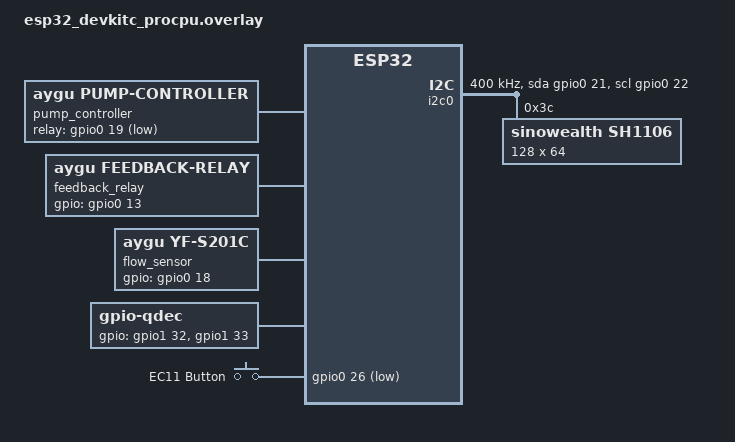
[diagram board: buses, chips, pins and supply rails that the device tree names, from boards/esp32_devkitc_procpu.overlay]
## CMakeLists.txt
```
# Copyright (c) 2025 Ramon Cristopher Calam
# SPDX-License-Identifier: Apache-2.0

cmake_minimum_required(VERSION 3.20.0)
find_package(Zephyr REQUIRED HINTS $ENV{ZEPHYR_BASE})

project(app LANGUAGES C)

# Include directories for UI modules
target_include_directories(app PRIVATE
  include
  include/display
  include/input
  include/timer
  include/zbus
)

target_sources(app PRIVATE
  src/main.c
  src/flow_analyzer.c
  src/flow_analyzer_thread.c
  src/error_handler.c
  src/thread_manager.c
  src/ui_manager.c
  src/display/display_manager.c
  src/input/input_manager.c
  src/timer/timer_state_machine.c
  src/zbus/channels.c
)
```

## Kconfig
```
# Copyright (c) 2021 Nordic Semiconductor ASA
# SPDX-License-Identifier: Apache-2.0
#
# This file is the application Kconfig entry point. All application Kconfig
# options can be defined here or included via other application Kconfig files.
# You can browse these options using the west targets menuconfig (terminal) or
# guiconfig (GUI).

menu "Zephyr"
source "Kconfig.zephyr"
endmenu

module = APP
module-str = APP
source "subsys/logging/Kconfig.template.log_config"

menu "Water Pump Application Configuration"

config APP_FLOW_THRESHOLD_MILLI_L_PER_MIN
	int "Minimum flow rate threshold (milli L/min)"
	default 100
	help
	  Minimum flow rate to consider active, in milli-liters per minute.
	  Default: 0.1 L/min

config APP_PUMP_ON_DEBOUNCE_MS
	int "Pump on debounce delay (ms)"
	default 3000
	help
	  Delay in milliseconds before allowing pump to turn on.

config APP_PLATEAU_CONFIRM_COUNT
	int "Consecutive plateau confirmations needed"
	default 2
	help
	  Number of consecutive small differences to confirm plateau.

config APP_PLATEAU_WINDOW_SIZE
	int "Sliding window size for plateau detection"
	default 5
	help
	  Size of sliding window for calibration plateau detection.

config APP_PLATEAU_MIN_SLOPE_MILLI
	int "Minimum slope for linear phase (milli L/min per sample)"
	default 10
	help
	  Minimum slope to assume linear phase, in milli-units.

config APP_PLATEAU_K_FACTOR_MILLI
	int "Plateau threshold multiplier (milli)"
	default 3000
	help
	  Threshold multiplier for plateau detection (3-sigma), in milli-units.

config APP_PLATEAU_INITIAL_K_FACTOR_MILLI
	int "Initial plateau threshold multiplier (milli)"
	default 2000
	help
	  Initial threshold multiplier for plateau detection (2-sigma), in milli-units.

config APP_PUMP_SAFETY_TIMEOUT_MIN
	int "Max pump runtime (minutes)"
	default 5
	help
	  Maximum pump runtime in minutes before safety shutdown.

config APP_MAX_TIMEOUT_US
	hex "Maximum timeout cap (microseconds)"
	default 0xF4240
	help
	  Maximum timeout cap in microseconds (default: 1,000,000 = 1 second).

config APP_ERROR_INIT_RETRY_COUNT
	int "Error handler init retry count"
	default 3
	help
	  Number of retries for error handler initialization.

config APP_ERROR_INIT_RETRY_DELAY_MS
	int "Error handler init retry delay (ms)"
	default 100
	help
	  Delay between retries for error handler initialization in milliseconds.

menu "Thread Architecture Configuration"

config SENSOR_MONITOR_STACK_SIZE
	int "Sensor monitor thread stack size (bytes)"
	default 2048
	help
	  Stack size for the sensor monitor thread in bytes.

config PUMP_CONTROLLER_STACK_SIZE
	int "Pump controller thread stack size (bytes)"
	default 3072
	help
	  Stack size for the pump controller thread in bytes.

config SAFETY_MONITOR_STACK_SIZE
	int "Safety monitor thread stack size (bytes)"
	default 2048
	help
	  Stack size for the safety monitor thread in bytes.

config SENSOR_MONITOR_PRIORITY
	int "Sensor monitor thread priority"
	default 2
	range 0 15
	help
	  Priority of the sensor monitor thread (lower number = higher priority).

config PUMP_CONTROLLER_PRIORITY
	int "Pump controller thread priority"
	default 5
	range 0 15
	help
	  Priority of the pump controller thread (lower number = higher priority).

config SAFETY_MONITOR_PRIORITY
	int "Safety monitor thread priority"
	default 1
	range 0 15
	help
	  Priority of the safety monitor thread (lower number = higher priority).

config SAFETY_MONITOR_CHECK_INTERVAL_MS
	int "Safety monitor check interval (ms)"
	default 500
	range 100 5000
	help
	  Interval in milliseconds between safety monitor checks.

config SAFETY_MONITOR_MAX_RUNTIME_MINUTES
	int "Safety monitor maximum pump runtime (minutes)"
	default 30
	range 5 120
	help
	  Maximum allowed pump runtime in minutes before emergency stop.

config SAFETY_MONITOR_WARNING_THRESHOLD_MINUTES
	int "Safety monitor warning threshold (minutes)"
	default 25
	range 1 120
	help
	  Runtime threshold in minutes when warnings are issued before emergency stop.

config APP_SAFETY_MONITOR_MAX_SENSOR_TIMEOUT_MS
	int "Maximum sensor data stall timeout (ms)"
	default 5000
	help
	  Maximum time in milliseconds without sensor data while the pump is on
	  before triggering an emergency stop. This detects sensor monitor thread
	  stalls.

config UI_MANAGER_STACK_SIZE
	int "UI manager thread stack size (bytes)"
	default 8192
	help
	  Stack size for the UI manager thread in bytes.

config UI_MANAGER_PRIORITY
	int "UI manager thread priority"
	default 4
	range 0 15
	help
	  Priority of the UI manager thread (lower number = higher priority).

config FLOW_ANALYZER_STACK_SIZE
	int "Flow analyzer thread stack size (bytes)"
	default 3072
	help
	  Stack size for the flow analyzer thread in bytes.

config FLOW_ANALYZER_PRIORITY
	int "Flow analyzer thread priority"
	default 3
	range 0 15
	help
	  Priority of the flow analyzer thread (lower number = higher priority).

endmenu

endmenu
```

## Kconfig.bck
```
# Copyright (c) 2025 Ramon Cristopher Calam
# SPDX-License-Identifier: Apache-2.0

menu "Pump Control Configuration"

	config PUMP_NO_FLOW_MULTIPLIER
		string "No-flow timer multiplier (e.g. 1.2 for 1.2x plateau period)"
		default "1.2"
		help
			Multiplier for plateau period to set no-flow timeout.
			Lower values mean faster shutdown when flow stops.

	config PUMP_NO_FLOW_DEBOUNCE_COUNT
		int "No-flow debounce count"
		default 2
		range 1 10
		help
			Number of consecutive timer expirations required before triggering shutdown.
			Prevents false shutdown on flow irregularities.

endmenu
```

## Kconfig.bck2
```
# App-specific configuration options

menu "Water Pump Application Configuration"

config APP_FLOW_THRESHOLD_MILLI_L_PER_MIN
	int "Minimum flow rate threshold (milli L/min)"
	default 100
	help
	  Minimum flow rate to consider active, in milli-liters per minute.
	  Default: 0.1 L/min

config APP_PUMP_ON_DEBOUNCE_MS
	int "Pump on debounce delay (ms)"
	default 3000
	help
	  Delay in milliseconds before allowing pump to turn on.

config APP_PLATEAU_CONFIRM_COUNT
	int "Consecutive plateau confirmations needed"
	default 2
	help
	  Number of consecutive small differences to confirm plateau.

config APP_PLATEAU_WINDOW_SIZE
	int "Sliding window size for plateau detection"
	default 5
	help
	  Size of sliding window for calibration plateau detection.

config APP_PLATEAU_MIN_SLOPE_MILLI
	int "Minimum slope for linear phase (milli L/min per sample)"
	default 10
	help
	  Minimum slope to assume linear phase, in milli-units.

config APP_PLATEAU_K_FACTOR_MILLI
	int "Plateau threshold multiplier (milli)"
	default 3000
	help
	  Threshold multiplier for plateau detection (3-sigma), in milli-units.

config APP_PLATEAU_INITIAL_K_FACTOR_MILLI
	int "Initial plateau threshold multiplier (milli)"
	default 2000
	help
	  Initial threshold multiplier for plateau detection (2-sigma), in milli-units.

config APP_PUMP_SAFETY_TIMEOUT_MIN
	int "Max pump runtime (minutes)"
	default 5
	help
	  Maximum pump runtime in minutes before safety shutdown.

config APP_MAX_TIMEOUT_US
	hex "Maximum timeout cap (microseconds)"
	default 0xF4240
	help
	  Maximum timeout cap in microseconds (default: 1,000,000 = 1 second).

config APP_ERROR_INIT_RETRY_COUNT
	int "Error handler init retry count"
	default 3
	help
	  Number of retries for error handler initialization.

config APP_ERROR_INIT_RETRY_DELAY_MS
	int "Error handler init retry delay (ms)"
	default 100
	help
	  Delay between retries for error handler initialization in milliseconds.

endmenu
```

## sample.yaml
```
# This file is provided so that the application can be compiled using Twister,
# the Zephyr testing tool. In this file, multiple combinations can be specified,
# so that you can easily test all of them locally or in CI.
sample:
  description: Water Pump application
  name: water-pump
common:
  build_only: true
  integration_platforms:
    - esp32
tests:
  app.default: {}
  app.debug:
    extra_overlay_confs:
      - debug.conf
```

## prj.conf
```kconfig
# Copyright (c) 2025 Ramon Cristopher Calam
# SPDX-License-Identifier: Apache-2.0

# Thread and stack configuration for improved reliability
CONFIG_MAIN_STACK_SIZE=4096
CONFIG_SYSTEM_WORKQUEUE_STACK_SIZE=2048
CONFIG_IDLE_STACK_SIZE=1024
CONFIG_SYSTEM_WORKQUEUE_PRIORITY=-1

# Memory management
CONFIG_HEAP_MEM_POOL_SIZE=4096

# Memory protection - enable stack guards for debugging
CONFIG_MPU_STACK_GUARD=y
CONFIG_THREAD_STACK_INFO=y

# Enable polling API for event-driven processing
CONFIG_POLL=y

# Zbus for inter-thread communication
CONFIG_ZBUS=y
CONFIG_ZBUS_CHANNEL_NAME=y
CONFIG_ZBUS_MSG_SUBSCRIBER=y
CONFIG_ZBUS_MSG_SUBSCRIBER_NET_BUF_POOL_SIZE=128

# Thread configuration for multi-threaded architecture
CONFIG_SENSOR_MONITOR_STACK_SIZE=2048
CONFIG_PUMP_CONTROLLER_STACK_SIZE=3072
CONFIG_SAFETY_MONITOR_STACK_SIZE=2048


# Thread priorities (lower number = higher priority)
CONFIG_SENSOR_MONITOR_PRIORITY=3
CONFIG_PUMP_CONTROLLER_PRIORITY=2
CONFIG_SAFETY_MONITOR_PRIORITY=1


# Flow analyzer thread
CONFIG_FLOW_ANALYZER_STACK_SIZE=3072
CONFIG_FLOW_ANALYZER_PRIORITY=3

# Safety monitor configuration
CONFIG_SAFETY_MONITOR_CHECK_INTERVAL_MS=500
CONFIG_SAFETY_MONITOR_MAX_RUNTIME_MINUTES=30
CONFIG_SAFETY_MONITOR_WARNING_THRESHOLD_MINUTES=25
CONFIG_APP_SAFETY_MONITOR_MAX_SENSOR_TIMEOUT_MS=5000

# Display configuration
CONFIG_I2C=y
CONFIG_DISPLAY=y
CONFIG_SSD1306=y
CONFIG_SSD1306_DEFAULT_CONTRAST=128

# Character Framebuffer for text display
CONFIG_CHARACTER_FRAMEBUFFER=y

# Input subsystem for rotary encoder and buttons
CONFIG_INPUT=y
CONFIG_INPUT_GPIO_QDEC=y
CONFIG_INPUT_GPIO_KEYS=y

# UI Thread configuration - increased stack for CFB display operations
CONFIG_UI_MANAGER_STACK_SIZE=9216
CONFIG_UI_MANAGER_PRIORITY=4

# Enable assertions for catching errors
CONFIG_ASSERT=y
CONFIG_ASSERT_LEVEL=2

# Stack protection
CONFIG_STACK_SENTINEL=y

# Disable MPU stack guard (not supported on ESP32)
# CONFIG_MPU_STACK_GUARD is not set

# Logging
# CONFIG_LOG=y
# CONFIG_LOG_DEFAULT_LEVEL=3

# Feedback relay driver
CONFIG_FEEDBACK_RELAY=y

# Reboot support
CONFIG_REBOOT=y
```

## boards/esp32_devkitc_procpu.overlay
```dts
/*
 * ESP32 board overlay for water pump application
 */

#include <zephyr/dt-bindings/i2c/i2c.h>
#include <zephyr/dt-bindings/input/input-event-codes.h>
#include <zephyr/dt-bindings/gpio/gpio.h>

&gpio0 {
	status = "okay";
};

&gpio1 {
	status = "okay";
};

&i2c0 {
	status = "okay";
	clock-frequency = <I2C_BITRATE_FAST>;
	sda-gpios = <&gpio0 21 GPIO_OPEN_DRAIN>;
	scl-gpios = <&gpio0 22 GPIO_OPEN_DRAIN>;

	sh1106: sh1106@3c {
		compatible = "sinowealth,sh1106";
		reg = <0x3c>;
		width = <128>;
		height = <64>;
		segment-offset = <2>;
		page-offset = <0>;
		display-offset = <0>;
		multiplex-ratio = <63>;
		segment-remap;
		com-invdir;
		prechargep = <0x22>;
	};
};

/ {
  pump_controller: pump_controller {
    compatible = "aygu,pump-controller";
    relay-gpios = <&gpio0 19 GPIO_ACTIVE_LOW>;
    safety-timeout-min = <5>;
    status = "okay";
  };

  feedback_relay: feedback_relay {
    compatible = "aygu,feedback-relay";
    /* Use open-drain so "off" releases the pin (Hi-Z).
     * The relay module's internal 5V pull-up then pulls the line high,
     * which the 5V relay module reliably interprets as OFF.
     * This solves the 3.3V vs 5V logic level mismatch.
     */
    gpios = <&gpio0 13 GPIO_OPEN_DRAIN>;
    status = "okay";
  };

	flow_sensor: flow-sensor {
		compatible = "aygu,yf-s201c";
		gpios = <&gpio0 18 GPIO_PULL_UP>;
		pulses-per-liter = <450>;
		min-period-us = <2500>;
		buffer-size = <5>;
		stale-threshold-ms = <200>;
		consecutive-invalid-threshold = <5>;
		status = "okay";
	};

	qdec: qdec {
		compatible = "gpio-qdec";
		gpios = <&gpio1 32 GPIO_PULL_UP>, <&gpio1 33 GPIO_PULL_UP>;
		steps-per-period = <4>;
		zephyr,axis = <INPUT_REL_WHEEL>;
		sample-time-us = <2000>;
		idle-timeout-ms = <200>;
		status = "okay";
	};

	/* GPIO Keys for EC11 Button */
	gpio_keys: gpio_keys {
		compatible = "gpio-keys";
		
		ec11_button: ec11_button {
			label = "EC11 Button";
			gpios = <&gpio0 26 (GPIO_PULL_UP | GPIO_ACTIVE_LOW)>;
			zephyr,code = <INPUT_KEY_ENTER>;
		};
	};
};
```

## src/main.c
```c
/*
 * Copyright (c) 2025 Ramon Cristopher Calam
 * SPDX-License-Identifier: Apache-2.0
 */

#include <app/drivers/pump_controller.h>
#include <zephyr/logging/log.h>
#include <zephyr/kernel.h>
#include <app_version.h>
#include "error_handler.h"
#include "thread_manager.h"
#include "ui_manager.h"

LOG_MODULE_REGISTER(main, CONFIG_APP_LOG_LEVEL);

// Semaphore for event-driven sensor data signaling is now defined in thread_manager.c

/**
 * @brief Main application entry point for Zephyr Water Pump control system
 *
 * @return Application exit code (0 for normal operation, never returns in production)
 */
int main(void)
{
    int ret;

    LOG_INF("Zephyr Water Pump Application %s", APP_VERSION_STRING);

    // Initialize error handler first (critical for other modules)
    ret = error_handler_init();
    if (ret < 0) {
        LOG_ERR("Could not initialize error handler (%d)", ret);
        return ERROR_REPORT_CRITICAL(ERROR_SYSTEM_CRITICAL_FAILURE);
    }

    // Initialize UI manager (display and input)
    ret = ui_manager_init();
    if (ret < 0) {
        LOG_ERR("Could not initialize UI manager (%d)", ret);
        return ERROR_REPORT_CRITICAL(ERROR_SYSTEM_CRITICAL_FAILURE);
    }

    // Get pump controller device reference (driver initializes itself)
    const struct device *pump = PUMP_CONTROLLER_DT_GET(DT_NODELABEL(pump_controller));
    if (!device_is_ready(pump)) {
        LOG_ERR("Pump controller device not ready");
        return ERROR_REPORT_CRITICAL(ERROR_PUMP_GPIO_FAILED);
    }

    // Create and start all threads
    ret = thread_manager_create_all_threads();
    if (ret < 0) {
        LOG_ERR("Failed to create threads (%d)", ret);
        return ERROR_REPORT_CRITICAL(ERROR_SYSTEM_CRITICAL_FAILURE);
    }

    // Monitor system health (this function never returns)
    thread_manager_monitor_health();

    return 0;
}
```

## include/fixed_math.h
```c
/*
 * Copyright (c) 2025 Ramon Cristopher Calam
 * SPDX-License-Identifier: Apache-2.0
 */

#ifndef FIXED_MATH_H
#define FIXED_MATH_H

#include <stdint.h>
#include <stdbool.h>
#include <stddef.h>

/**
 * @brief Q16.16 fixed-point arithmetic library
 *
 * Provides efficient fixed-point mathematics for embedded systems,
 * eliminating FPU dependency and reducing memory usage by ~75%
 * compared to floating-point operations.
 *
 * Format: 32-bit signed integer with 16 bits fractional precision
 * Range: -32768.0 to +32767.999... (approximate)
 * Resolution: 1/65536 ≈ 0.00001526
 */

// ============================================================================
// Type Definitions and Constants
// ============================================================================

/** Q16.16 fixed-point type */
typedef int32_t fixed_t;

/** Scale factor for Q16.16 format */
#define FIXED_SCALE (1 << 16)

/** Scale factor as floating-point for conversions */
#define FIXED_SCALE_F (65536.0f)

/** Maximum positive value in Q16.16 */
#define FIXED_MAX INT32_MAX

/** Minimum negative value in Q16.16 */
#define FIXED_MIN INT32_MIN

/** Value of 1.0 in fixed-point */
#define FIXED_ONE (FIXED_SCALE)

/** Value of 0.5 in fixed-point (for rounding) */
#define FIXED_HALF (FIXED_SCALE / 2)

// ============================================================================
// Conversion Functions
// ============================================================================

/**
 * @brief Convert floating-point to Q16.16 fixed-point
 *
 * @param f Floating-point value
 * @return Equivalent fixed-point value
 */
static inline fixed_t fixed_from_float(float f) {
    return (fixed_t)(f * FIXED_SCALE_F + (f >= 0.0f ? 0.5f : -0.5f));
}

/**
 * @brief Convert Q16.16 fixed-point to floating-point
 *
 * @param x Fixed-point value
 * @return Equivalent floating-point value
 */
static inline float fixed_to_float(fixed_t x) {
    return (float)x / FIXED_SCALE_F;
}

/**
 * @brief Convert integer to Q16.16 fixed-point
 *
 * @param i Integer value
 * @return Equivalent fixed-point value
 */
static inline fixed_t fixed_from_int(int32_t i) {
    return i << 16;
}

/**
 * @brief Convert Q16.16 fixed-point to integer (truncation)
 *
 * @param x Fixed-point value
 * @return Equivalent integer value (truncated)
 */
static inline int32_t fixed_to_int(fixed_t x) {
    return x >> 16;
}

/**
 * @brief Convert Q16.16 fixed-point to integer (rounding)
 *
 * @param x Fixed-point value
 * @return Equivalent integer value (rounded)
 */
static inline int32_t fixed_to_int_round(fixed_t x) {
    if (x >= 0) {
        return (x + FIXED_HALF) >> 16;
    } else {
        return (x - FIXED_HALF) >> 16;
    }
}

// ============================================================================
// Arithmetic Operations
// ============================================================================

/**
 * @brief Add two Q16.16 fixed-point values
 *
 * @param a First value
 * @param b Second value
 * @return a + b in fixed-point
 */
static inline fixed_t fixed_add(fixed_t a, fixed_t b) {
    return a + b;
}

/**
 * @brief Subtract two Q16.16 fixed-point values
 *
 * @param a First value
 * @param b Second value
 * @return a - b in fixed-point
 */
static inline fixed_t fixed_sub(fixed_t a, fixed_t b) {
    return a - b;
}

/**
 * @brief Multiply two Q16.16 fixed-point values
 *
 * Uses 64-bit intermediate to prevent overflow.
 *
 * @param a First value
 * @param b Second value
 * @return a * b in fixed-point
 */
static inline fixed_t fixed_mul(fixed_t a, fixed_t b) {
    int64_t temp = (int64_t)a * (int64_t)b;
    return (fixed_t)(temp >> 16);
}

/**
 * @brief Divide two Q16.16 fixed-point values
 *
 * @param a Dividend
 * @param b Divisor (must not be zero)
 * @return a / b in fixed-point
 */
static inline fixed_t fixed_div(fixed_t a, fixed_t b) {
    if (b == 0) return FIXED_MAX; // Prevent division by zero
    int64_t temp = ((int64_t)a << 16) / b;
    return (fixed_t)temp;
}

/**
 * @brief Multiply fixed-point by integer
 *
 * @param a Fixed-point value
 * @param b Integer multiplier
 * @return a * b in fixed-point
 */
static inline fixed_t fixed_mul_int(fixed_t a, int32_t b) {
    return a * b;
}

/**
 * @brief Divide fixed-point by integer
 *
 * @param a Fixed-point dividend
 * @param b Integer divisor (must not be zero)
 * @return a / b in fixed-point
 */
static inline fixed_t fixed_div_int(fixed_t a, int32_t b) {
    if (b == 0) return FIXED_MAX; // Prevent division by zero
    return a / b;
}

// ============================================================================
// Comparison Operations
// ============================================================================

/**
 * @brief Compare two fixed-point values for equality
 *
 * @param a First value
 * @param b Second value
 * @return true if a == b
 */
static inline bool fixed_eq(fixed_t a, fixed_t b) {
    return a == b;
}

/**
 * @brief Compare two fixed-point values
 *
 * @param a First value
 * @param b Second value
 * @return -1 if a < b, 0 if a == b, 1 if a > b
 */
static inline int fixed_cmp(fixed_t a, fixed_t b) {
    if (a < b) return -1;
    if (a > b) return 1;
    return 0;
}

/**
 * @brief Check if a is less than b
 *
 * @param a First value
 * @param b Second value
 * @return true if a < b
 */
static inline bool fixed_lt(fixed_t a, fixed_t b) {
    return a < b;
}

/**
 * @brief Check if a is less than or equal to b
 *
 * @param a First value
 * @param b Second value
 * @return true if a <= b
 */
static inline bool fixed_le(fixed_t a, fixed_t b) {
    return a <= b;
}

/**
 * @brief Check if a is greater than b
 *
 * @param a First value
 * @param b Second value
 * @return true if a > b
 */
static inline bool fixed_gt(fixed_t a, fixed_t b) {
    return a > b;
}

/**
 * @brief Check if a is greater than or equal to b
 *
 * @param a First value
 * @param b Second value
 * @return true if a >= b
 */
static inline bool fixed_ge(fixed_t a, fixed_t b) {
    return a >= b;
}

// ============================================================================
// Mathematical Functions
// ============================================================================

/**
 * @brief Calculate absolute value of fixed-point number
 *
 * @param x Input value
 * @return |x| in fixed-point
 */
static inline fixed_t fixed_abs(fixed_t x) {
    return (x < 0) ? -x : x;
}

/**
 * @brief Calculate square root using integer approximation
 *
 * Implements a fast integer square root algorithm adapted for fixed-point.
 * Accuracy is sufficient for flow measurement applications.
 *
 * @param x Input value (must be non-negative)
 * @return √x in fixed-point
 */
static inline fixed_t fixed_sqrt(fixed_t x) {
    if (x <= 0) return 0;

    // Convert to integer domain for calculation
    uint32_t x_int = (uint32_t)x << 8; // Scale up for better precision
    uint32_t result = 0;
    uint32_t bit = 1 << 30; // Start with highest bit

    // Integer square root algorithm - find initial bit position
    while (bit > x_int && bit > 1) {
        bit >>= 2;
    }

    // Main square root calculation with safety limit
    int iterations = 0;
    while (bit != 0 && iterations < 16) {  // Safety limit to prevent infinite loops
        if (x_int >= result + bit) {
            x_int -= result + bit;
            result = (result >> 1) + bit;
        } else {
            result >>= 1;
        }
        bit >>= 2;
        iterations++;
    }

    // Convert back to fixed-point and adjust scaling
    return (fixed_t)(result) << 4; // Adjust for the scaling we applied
}

/**
 * @brief Calculate mean of an array of fixed-point values
 *
 * @param arr Array of fixed-point values
 * @param count Number of elements
 * @return Mean value in fixed-point
 */
static inline fixed_t fixed_mean(const fixed_t *arr, size_t count) {
    if (count == 0) return 0;

    int64_t sum = 0;
    for (size_t i = 0; i < count; i++) {
        sum += arr[i];
    }
    return (fixed_t)(sum / count);
}

/**
 * @brief Calculate variance of an array of fixed-point values
 *
 * @param arr Array of fixed-point values
 * @param count Number of elements
 * @param mean Pre-calculated mean value
 * @return Variance in fixed-point
 */
static inline fixed_t fixed_variance(const fixed_t *arr, size_t count, fixed_t mean) {
    if (count <= 1) return 0;

    int64_t sum_sq_diff = 0;
    for (size_t i = 0; i < count; i++) {
        fixed_t diff = fixed_sub(arr[i], mean);
        sum_sq_diff += (int64_t)fixed_mul(diff, diff);
    }
    return (fixed_t)(sum_sq_diff / (count - 1));
}

/**
 * @brief Calculate standard deviation of an array of fixed-point values
 *
 * @param arr Array of fixed-point values
 * @param count Number of elements
 * @param mean Pre-calculated mean value
 * @return Standard deviation in fixed-point
 */
static inline fixed_t fixed_stddev(const fixed_t *arr, size_t count, fixed_t mean) {
    fixed_t variance = fixed_variance(arr, count, mean);
    return fixed_sqrt(fixed_abs(variance)); // sqrt of variance
}

// ============================================================================
// Flow Meter Specific Constants
// ============================================================================

/** Flow rate threshold in fixed-point (0.1 L/min) */
#define FIXED_FLOW_THRESHOLD fixed_from_float(0.1f)

/** Plateau minimum slope in fixed-point (0.01 L/min per sample) */
#define FIXED_PLATEAU_MIN_SLOPE fixed_from_float(0.01f)

/** Plateau initial K-factor multiplier in fixed-point (2.0) */
#define FIXED_PLATEAU_INITIAL_K_FACTOR fixed_from_float(2.0f)

/** Plateau K-factor multiplier in fixed-point (3.0) */
#define FIXED_PLATEAU_K_FACTOR fixed_from_float(3.0f)

/** Epsilon fallback for calibration in fixed-point (0.01) */
#define FIXED_EPSILON_FALLBACK fixed_from_float(0.01f)

/** YF-S201C pulses per liter constant */
#define YF_S201C_PULSES_PER_LITER_INT 450

/** Seconds per minute for flow calculation */
#define SECONDS_PER_MINUTE_INT 60

/** Microseconds per second for flow calculation */
#define USEC_PER_SECOND_INT 1000000

#endif /* FIXED_MATH_H */
```

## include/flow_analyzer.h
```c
/*
 * Copyright (c) 2025 Ramon Cristopher Calam
 * SPDX-License-Identifier: Apache-2.0
 */

#ifndef FLOW_ANALYZER_H
#define FLOW_ANALYZER_H

#include <stdbool.h>
#include "fixed_math.h"

/*
 * All functions below must only be called from the flow analyzer thread.
 * No mutex protection — single-threaded access is the safety guarantee.
 */

int flow_analyzer_init(void);
bool flow_analyzer_detect_plateau(fixed_t flow_rate, fixed_t k_factor);
void flow_analyzer_reset(void);
fixed_t flow_analyzer_get_noise_std(void);
fixed_t flow_analyzer_get_flow_slope(void);

#define FLOW_ANALYZER_EPSILON_FALLBACK FIXED_EPSILON_FALLBACK

#endif /* FLOW_ANALYZER_H */
```

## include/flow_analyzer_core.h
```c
/*
 * Copyright (c) 2025 Ramon Cristopher Calam
 * SPDX-License-Identifier: Apache-2.0
 *
 * Pure, platform-independent core of the flow plateau detection algorithm.
 *
 * This module contains the actual statistical logic for detecting when
 * flow has stabilized. It has zero dependencies on Zephyr or any OS.
 *
 * It is intended to be used by:
 *   - The real firmware (via a thin Zephyr wrapper in flow_analyzer.c)
 *   - Host simulation (host_sim) directly for high-fidelity replay of plant traces
 */

#ifndef FLOW_ANALYZER_CORE_H
#define FLOW_ANALYZER_CORE_H

#include <stdbool.h>
#include <stdint.h>

#include "fixed_math.h"

/* Maximum supported window size (must be large enough for our Kconfig defaults) */
#define FLOW_ANALYZER_CORE_MAX_WINDOW 10

/**
 * @brief Opaque state for one instance of the flow analyzer.
 *
 * This replaces the previous global variables + mutex.
 * Each caller (real firmware instance or a host simulation) owns one.
 */
struct flow_analyzer_core_state {
    fixed_t buffer[FLOW_ANALYZER_CORE_MAX_WINDOW];
    fixed_t slope;
    fixed_t noise_std;
    fixed_t prev_flow;
    int     buffer_index;
    int     diff_count;
    int     window_size;            /* runtime configured */
    int     confirm_count;          /* runtime configured */
    bool    has_calibrated;         /* true after at least one real noise estimation */
};

/**
 * @brief Initialize the core analyzer state.
 *
 * Must be called before any other core functions.
 */
void flow_analyzer_core_init(struct flow_analyzer_core_state *state,
                             int window_size,
                             int confirm_count);

/**
 * @brief Core plateau detection logic.
 *
 * This is the pure version of the original flow_analyzer_detect_plateau.
 * It performs the sliding window, noise calibration, delta/epsilon check,
 * and consecutive confirmation counting.
 *
 * @param state     Analyzer instance state
 * @param flow_rate Current flow rate measurement
 * @param k_factor  Multiplier for noise threshold (e.g. 3.0 for 3-sigma)
 * @return true if a plateau has been confirmed, false otherwise
 */
bool flow_analyzer_core_detect_plateau(struct flow_analyzer_core_state *state,
                                       fixed_t flow_rate,
                                       fixed_t k_factor);

/**
 * @brief Perform calibration (slope + noise estimation).
 *
 * Exposed for advanced use / testing. Normally called internally.
 */
void flow_analyzer_core_calibrate(struct flow_analyzer_core_state *state);

/* Accessors for diagnostics / host simulation visibility */
fixed_t flow_analyzer_core_get_noise_std(const struct flow_analyzer_core_state *state);
fixed_t flow_analyzer_core_get_slope(const struct flow_analyzer_core_state *state);
bool    flow_analyzer_core_is_calibrated(const struct flow_analyzer_core_state *state);

/* Temporary debug accessor for understanding plateau decisions in simulation */
int flow_analyzer_core_get_diff_count(const struct flow_analyzer_core_state *state);

#endif /* FLOW_ANALYZER_CORE_H */
```

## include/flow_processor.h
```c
/*
 * Copyright (c) 2025 Ramon Cristopher Calam
 * SPDX-License-Identifier: Apache-2.0
 *
 * Flow Processor - Signal processing for flow sensor data.
 * Extracted from the YF-S201C driver during zbus architecture refactor.
 */

#ifndef FLOW_PROCESSOR_H_
#define FLOW_PROCESSOR_H_

#include <stdint.h>
#include <stddef.h>

#include "fixed_math.h"

/**
 * @brief Context for flow period filtering (median + outlier rejection).
 */
struct flow_processor_ctx {
	int64_t period_buffer[8];
	int buffer_size;
	int buffer_index;
	int valid_count;
};

/**
 * @brief Initialize a flow processor context.
 */
static inline void flow_processor_init(struct flow_processor_ctx *ctx, int buffer_size)
{
	if (!ctx) return;
	ctx->buffer_size = (buffer_size > 8) ? 8 : buffer_size;
	ctx->buffer_index = 0;
	ctx->valid_count = 0;
}

/**
 * @brief Calculate median of an array (helper, exposed for tests).
 */
int64_t flow_processor_median(int64_t *arr, int size);

/**
 * @brief Apply median filtering + outlier rejection to a new period.
 */
int64_t flow_processor_filter_period(struct flow_processor_ctx *ctx, int64_t new_period_us);

/**
 * @brief Reset the processor state.
 */
void flow_processor_reset(struct flow_processor_ctx *ctx);

/**
 * @brief Calculate flow rate (L/min) from a raw period.
 */
fixed_t flow_processor_calculate_flow_rate(int64_t period_us, uint32_t pulses_per_liter);

#endif /* FLOW_PROCESSOR_H_ */
```

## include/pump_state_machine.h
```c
/*
 * Copyright (c) 2025 Ramon Cristopher Calam
 * SPDX-License-Identifier: Apache-2.0
 *
 * Pure, hardware-independent pump state machine.
 *
 * Extracted from the pump_controller driver for testability and reuse
 * by higher-level services (PumpService, SafetyService, tests, emulation).
 *
 * This module contains **zero** kernel objects, mutexes, or device references.
 * It is fully unit-testable on the host / native_sim.
 */

#ifndef APP_PUMP_STATE_MACHINE_H_
#define APP_PUMP_STATE_MACHINE_H_

#include <stdint.h>
#include <stdbool.h>

#ifdef __cplusplus
extern "C" {
#endif

/**
 * @brief Pump operational states (pure state machine version)
 */
enum pump_sm_state {
	PUMP_SM_STATE_OFF = 0,
	PUMP_SM_STATE_STARTING,
	PUMP_SM_STATE_RUNNING,
	PUMP_SM_STATE_TIMEOUT,
	PUMP_SM_STATE_ERROR,
	PUMP_SM_STATE_MAINTENANCE,
	PUMP_SM_STATE_COUNT
};

/**
 * @brief Events that can drive state transitions
 */
enum pump_sm_event {
	PUMP_SM_EVENT_PLATEAU_DETECTED = 0,
	PUMP_SM_EVENT_TIMEOUT,
	PUMP_SM_EVENT_SAFETY_TIMEOUT,
	PUMP_SM_EVENT_ERROR_DETECTED,
	PUMP_SM_EVENT_MAINTENANCE_ENTER,
	PUMP_SM_EVENT_MAINTENANCE_EXIT,
	PUMP_SM_EVENT_RESET,
	PUMP_SM_EVENT_COUNT
};

/**
 * @brief Process a state + event and return the next state.
 *
 * This is a pure function with no side effects. Perfect for unit testing.
 *
 * @param current Current state
 * @param event   Event that occurred
 * @return        Next state according to the transition table
 */
enum pump_sm_state pump_sm_process_event(enum pump_sm_state current,
					 enum pump_sm_event event);

/**
 * @brief Convert state to human-readable string (for logging/tests)
 */
const char *pump_sm_state_to_str(enum pump_sm_state state);

/**
 * @brief Convert event to human-readable string (for logging/tests)
 */
const char *pump_sm_event_to_str(enum pump_sm_event event);

/**
 * @brief Check if a state represents the pump being physically active
 */
static inline bool pump_sm_is_active(enum pump_sm_state state)
{
	return (state == PUMP_SM_STATE_RUNNING) ||
	       (state == PUMP_SM_STATE_STARTING);
}

#ifdef __cplusplus
}
#endif

#endif /* APP_PUMP_STATE_MACHINE_H_ */
```

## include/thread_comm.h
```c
/*
 * Copyright (c) 2025 Ramon Cristopher Calam
 * SPDX-License-Identifier: Apache-2.0
 */

#ifndef THREAD_COMM_H_
#define THREAD_COMM_H_

#include <zephyr/kernel.h>
#include <stdint.h>
#include <stdbool.h>

enum thread_health_status {
	THREAD_HEALTH_OK,
	THREAD_HEALTH_TIMEOUT,
	THREAD_HEALTH_ERROR,
	THREAD_HEALTH_STACK_CRITICAL
};

struct thread_health_info {
	k_tid_t thread_id;
	int64_t last_check_time;
	enum thread_health_status status;
	size_t stack_size;
	size_t stack_peak_usage;
	uint32_t messages_processed;
	uint32_t errors_encountered;
};

#define THREAD_HEALTH_CHECK_INTERVAL_MS 1000
#define THREAD_HEALTH_TIMEOUT_MS 5000

void thread_health_update(k_tid_t thread_id, enum thread_health_status status,
			  uint32_t messages_processed, uint32_t errors_encountered);

#endif /* THREAD_COMM_H_ */
```

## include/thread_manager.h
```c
/*
 * Copyright (c) 2025 Ramon Cristopher Calam
 * SPDX-License-Identifier: Apache-2.0
 */

#ifndef THREAD_MANAGER_H_
#define THREAD_MANAGER_H_

#include <stdint.h>

/**
 * @brief Create and start all application threads
 *
 * @return 0 on success, negative errno on failure
 */
int thread_manager_create_all_threads(void);

/**
 * @brief Monitor thread health and handle system coordination
 *
 * This function runs in the main thread and monitors the health of all
 * application threads. It should be called from main() after thread creation.
 */
void thread_manager_monitor_health(void);

/**
 * @brief Request a system shutdown
 *
 * @return 0 on success, -EALREADY if already requested
 */
int thread_manager_request_shutdown(void);

/**
 * @brief Check if shutdown has been requested
 *
 * @return true if shutdown requested, false otherwise
 */
bool thread_manager_is_shutdown_requested(void);

/**
 * @brief Gracefully shutdown all threads
 *
 * @return 0 on success, negative errno on failure
 */
int thread_manager_shutdown_all_threads(void);

#endif /* THREAD_MANAGER_H_ */
```

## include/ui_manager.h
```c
/**
 * @file ui_manager.h
 * @brief UI Manager interface
 *
 * Main UI thread that coordinates display, input, and timer state machine.
 */

#ifndef UI_MANAGER_H_
#define UI_MANAGER_H_

#include <stdint.h>

#ifdef __cplusplus
extern "C" {
#endif

/**
 * @brief Initialize the UI manager
 *
 * Initializes display, input, and timer subsystems.
 * Must be called before creating the UI thread.
 *
 * @return 0 on success, negative errno on failure
 */
int ui_manager_init(void);

/**
 * @brief UI thread entry point
 *
 * This function runs the main UI event loop. It should be called
 * from a dedicated thread.
 *
 * @param arg1 Unused
 * @param arg2 Unused
 * @param arg3 Unused
 */
void ui_manager_thread(void *arg1, void *arg2, void *arg3);

#ifdef __cplusplus
}
#endif

#endif /* UI_MANAGER_H_ */
```

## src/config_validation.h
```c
/*
 * Copyright (c) 2025 Ramon Cristopher Calam
 * SPDX-License-Identifier: Apache-2.0
 */

#ifndef CONFIG_VALIDATION_H
#define CONFIG_VALIDATION_H

#include <stdint.h>
#include <stdbool.h>
#include <zephyr/kernel.h>

#ifdef __cplusplus
extern "C" {
#endif

/* ============================================================================
 * Configuration Types and Constants
 * ============================================================================ */

/**
 * @brief Configuration parameter data types
 */
typedef enum {
    CONFIG_TYPE_UINT32 = 0,   /**< 32-bit unsigned integer */
    CONFIG_TYPE_INT32,        /**< 32-bit signed integer */
    CONFIG_TYPE_UINT64,       /**< 64-bit unsigned integer */
    CONFIG_TYPE_INT64,        /**< 64-bit signed integer */
    CONFIG_TYPE_FLOAT,        /**< Single precision float */
    CONFIG_TYPE_DOUBLE,       /**< Double precision float */
    CONFIG_TYPE_BOOL,         /**< Boolean value */
    CONFIG_TYPE_STRING,       /**< Null-terminated string */
    CONFIG_TYPE_COUNT         /**< Total number of types */
} config_value_type_t;

/* ============================================================================
 * Configuration Value Union
 * ============================================================================ */

/**
 * @brief Union to hold different types of configuration values
 */
typedef union {
    uint32_t u32;             /**< Unsigned 32-bit integer */
    int32_t i32;              /**< Signed 32-bit integer */
    uint64_t u64;             /**< Unsigned 64-bit integer */
    int64_t i64;              /**< Signed 64-bit integer */
    float f32;                /**< Single precision float */
    double f64;               /**< Double precision float */
    bool b;                   /**< Boolean value */
    const char *str;          /**< String pointer */
} config_value_t;

/* ============================================================================
 * Configuration Parameter Definition
 * ============================================================================ */

/**
 * @brief Configuration parameter descriptor
 */
typedef struct {
    const char *name;                  /**< Parameter name/identifier */
    config_value_type_t type;          /**< Data type of the parameter */
    config_value_t default_value;      /**< Default value */
    config_value_t min_value;          /**< Minimum allowed value */
    config_value_t max_value;          /**< Maximum allowed value */
    bool has_min;                      /**< Whether minimum value is enforced */
    bool has_max;                      /**< Whether maximum value is enforced */
    const char *description;           /**< Human-readable description */
    const char *units;                 /**< Units of measurement */
} config_parameter_t;

/* ============================================================================
 * Configuration Validation Result
 * ============================================================================ */

/**
 * @brief Result of configuration validation
 */
typedef enum {
    CONFIG_VALIDATION_SUCCESS = 0,    /**< Configuration is valid */
    CONFIG_VALIDATION_OUT_OF_BOUNDS,  /**< Value exceeds allowed range */
    CONFIG_VALIDATION_TYPE_MISMATCH,  /**< Wrong data type for parameter */
    CONFIG_VALIDATION_DEPENDENCY_FAIL,/**< Parameter dependencies not satisfied */
    CONFIG_VALIDATION_CORRUPTION,     /**< Configuration appears corrupted */
    CONFIG_VALIDATION_MISSING_VALUE,  /**< Required parameter is missing */
    CONFIG_VALIDATION_SYSTEM_ERROR    /**< Validation system error */
} config_validation_result_t;

/* ============================================================================
 * Configuration Violation Structure
 * ============================================================================ */

/**
 * @brief Details about a configuration violation
 */
typedef struct {
    config_validation_result_t result; /**< Validation result code */
    const char *parameter_name;         /**< Name of the problematic parameter */
    config_value_t provided_value;      /**< Value that was provided */
    config_value_t expected_range;      /**< Expected value/range information */
    const char *description;            /**< Human-readable error description */
    bool is_critical;                   /**< Whether this violation is critical */
} config_violation_t;

/* ============================================================================
 * Configuration Context Structure
 * ============================================================================ */

/**
 * @brief Runtime configuration context
 */
typedef struct {
    const config_parameter_t *parameters;  /**< Array of parameter definitions */
    uint32_t parameter_count;              /**< Number of parameters in array */
    const char *context_name;              /**< Name of configuration context */
    bool hot_reload_supported;             /**< Whether hot reloading is allowed */
    uint32_t checksum;                     /**< Configuration integrity checksum */
} config_context_t;

/* ============================================================================
 * Callback Function Types
 * ============================================================================ */

/**
 * @brief Configuration validation callback
 *
 * Allows custom validation logic beyond basic bounds checking.
 *
 * @param context Configuration context being validated
 * @param parameter Parameter being validated
 * @param value Value being checked
 * @param violation Pointer to store violation details if validation fails
 * @param user_data User-provided context data
 * @return CONFIG_VALIDATION_SUCCESS if valid, error code otherwise
 */
typedef config_validation_result_t (*config_validation_callback_t)(
    const config_context_t *context,
    const config_parameter_t *parameter,
    const config_value_t *value,
    config_violation_t *violation,
    void *user_data);

/**
 * @brief Configuration change callback
 *
 * Called when a configuration parameter changes value.
 *
 * @param context Configuration context
 * @param parameter Parameter that changed
 * @param old_value Previous value
 * @param new_value New value
 * @param user_data User-provided context data
 * @return 0 on success, negative error code on failure
 */
typedef int (*config_change_callback_t)(
    const config_context_t *context,
    const config_parameter_t *parameter,
    const config_value_t *old_value,
    const config_value_t *new_value,
    void *user_data);

/* ============================================================================
 * Public API Functions
 * ============================================================================ */

/**
 * @brief Initialize configuration validation system
 *
 * Sets up the configuration validation infrastructure.
 *
 * @return 0 on success, negative error code on failure
 */
int config_validation_init(void);

/**
 * @brief Register a configuration context
 *
 * Registers a set of configuration parameters for validation.
 *
 * @param context Pointer to configuration context descriptor
 * @return Context ID on success, negative error code on failure
 */
int config_validation_register_context(const config_context_t *context);

/**
 * @brief Validate a configuration parameter value
 *
 * Performs bounds checking and custom validation on a parameter.
 *
 * @param context Configuration context
 * @param parameter Parameter definition
 * @param value Value to validate
 * @param violation Pointer to store violation details (can be NULL)
 * @return CONFIG_VALIDATION_SUCCESS if valid, error code otherwise
 */
config_validation_result_t config_validation_check_parameter(
    const config_context_t *context,
    const config_parameter_t *parameter,
    const config_value_t *value,
    config_violation_t *violation);

/**
 * @brief Validate entire configuration context
 *
 * Validates all parameters in a configuration context.
 *
 * @param context Configuration context to validate
 * @param violations Array to store violation details
 * @param max_violations Maximum violations to store
 * @param violation_count Pointer to receive actual violation count
 * @return CONFIG_VALIDATION_SUCCESS if all valid, first error code otherwise
 */
config_validation_result_t config_validation_check_context(
    const config_context_t *context,
    config_violation_t *violations,
    uint32_t max_violations,
    uint32_t *violation_count);

/**
 * @brief Set a parameter value with validation
 *
 * Attempts to set a parameter value after validating it.
 *
 * @param context Configuration context
 * @param parameter_name Name of parameter to set
 * @param value New value to set
 * @param violation Pointer to store violation if validation fails
 * @return 0 on success, negative error code on failure
 */
int config_validation_set_parameter(
    const config_context_t *context,
    const char *parameter_name,
    const config_value_t *value,
    config_violation_t *violation);

/**
 * @brief Get the current value of a configuration parameter
 *
 * @param context Configuration context
 * @param parameter_name Name of parameter to get
 * @param value Pointer to receive the current value
 * @return 0 on success, negative error code on failure
 */
int config_validation_get_parameter(
    const config_context_t *context,
    const char *parameter_name,
    config_value_t *value);

/**
 * @brief Find a parameter definition by name
 *
 * @param context Configuration context
 * @param parameter_name Name to search for
 * @return Pointer to parameter definition, or NULL if not found
 */
const config_parameter_t *config_validation_find_parameter(
    const config_context_t *context,
    const char *parameter_name);

/**
 * @brief Register a custom validation callback
 *
 * Allows registration of custom validation logic for specific contexts.
 *
 * @param context_id Context ID to register callback for
 * @param callback Validation callback function
 * @param user_data User-provided context data
 * @return Callback ID on success, negative error code on failure
 */
int config_validation_register_callback(
    int context_id,
    config_validation_callback_t callback,
    void *user_data);

/**
 * @brief Register a configuration change callback
 *
 * Callback is invoked when parameter values change.
 *
 * @param context_id Context ID to register callback for
 * @param callback Change callback function
 * @param user_data User-provided context data
 * @return Callback ID on success, negative error code on failure
 */
int config_validation_register_change_callback(
    int context_id,
    config_change_callback_t callback,
    void *user_data);

/**
 * @brief Perform hot reload of configuration
 *
 * Updates configuration values that support hot reloading.
 *
 * @param context_id Context to reload
 * @param new_context New configuration values
 * @param violations Array to store violations from invalid parameters
 * @param max_violations Maximum violations to store
 * @param violation_count Actual violation count
 * @return 0 on success, negative error code on failure
 */
int config_validation_hot_reload(
    int context_id,
    const config_context_t *new_context,
    config_violation_t *violations,
    uint32_t max_violations,
    uint32_t *violation_count);

/**
 * @brief Check configuration integrity
 *
 * Verifies that configuration has not been corrupted.
 *
 * @param context Configuration context to check
 * @return true if configuration appears valid, false if corrupted
 */
bool config_validation_check_integrity(const config_context_t *context);

/**
 * @brief Create configuration checksum
 *
 * Generates a checksum for configuration integrity verification.
 *
 * @param context Configuration context
 * @return Checksum value
 */
uint32_t config_validation_create_checksum(const config_context_t *context);

/**
 * @brief Dump configuration to debug output
 *
 * Prints current configuration values for debugging.
 *
 * @param context Configuration context to dump
 * @return 0 on success, negative error code on failure
 */
int config_validation_dump(const config_context_t *context);

/**
 * @brief Reset configuration to defaults
 *
 * Resets all parameters in a context to their default values.
 *
 * @param context_id Context ID to reset
 * @return 0 on success, negative error code on failure
 */
int config_validation_reset_to_defaults(int context_id);

/**
 * @brief Check if parameter supports hot reloading
 *
 * @param context Configuration context
 * @param parameter_name Parameter to check
 * @return true if hot reloading is supported, false otherwise
 */
bool config_validation_supports_hot_reload(
    const config_context_t *context,
    const char *parameter_name);

/**
 * @brief Cleanup configuration validation resources
 *
 * Should be called during system shutdown.
 *
 * @return 0 on success, negative error code on failure
 */
int config_validation_cleanup(void);

/* ============================================================================
 * Utility Functions
 * ============================================================================ */

/**
 * @brief Convert validation result to human-readable string
 *
 * @param result Validation result to convert
 * @return String representation of result
 */
const char *config_validation_result_to_string(config_validation_result_t result);

/**
 * @brief Convert configuration type to human-readable string
 *
 * @param type Configuration type to convert
 * @return String representation of type
 */
const char *config_value_type_to_string(config_value_type_t type);

/**
 * @brief Create config_value_t from various types
 *
 * Convenience macros for creating configuration values.
 *
 * @param val Value to convert
 * @param type Type of the value
 * @return config_value_t structure
 */
#define CONFIG_VALUE_U32(val)  ((config_value_t){ .u32 = (val) })
#define CONFIG_VALUE_I32(val)  ((config_value_t){ .i32 = (val) })
#define CONFIG_VALUE_U64(val)  ((config_value_t){ .u64 = (val) })
#define CONFIG_VALUE_I64(val)  ((config_value_t){ .i64 = (val) })
#define CONFIG_VALUE_F32(val)  ((config_value_t){ .f32 = (val) })
#define CONFIG_VALUE_F64(val)  ((config_value_t){ .f64 = (val) })
#define CONFIG_VALUE_BOOL(val) ((config_value_t){ .b = (val) })
#define CONFIG_VALUE_STR(val)  ((config_value_t){ .str = (val) })

/**
 * @brief Get value as specific type
 *
 * Convenience macros for extracting values from config_value_t.
 *
 * @param val config_value_t structure
 * @return Value as requested type
 */
#define CONFIG_GET_U32(val)   ((val).u32)
#define CONFIG_GET_I32(val)   ((val).i32)
#define CONFIG_GET_U64(val)   ((val).u64)
#define CONFIG_GET_I64(val)   ((val).i64)
#define CONFIG_GET_F32(val)   ((val).f32)
#define CONFIG_GET_F64(val)   ((val).f64)
#define CONFIG_GET_BOOL(val)  ((val).b)
#define CONFIG_GET_STR(val)   ((val).str)

#ifdef __cplusplus
}
#endif

#endif /* CONFIG_VALIDATION_H */
```
